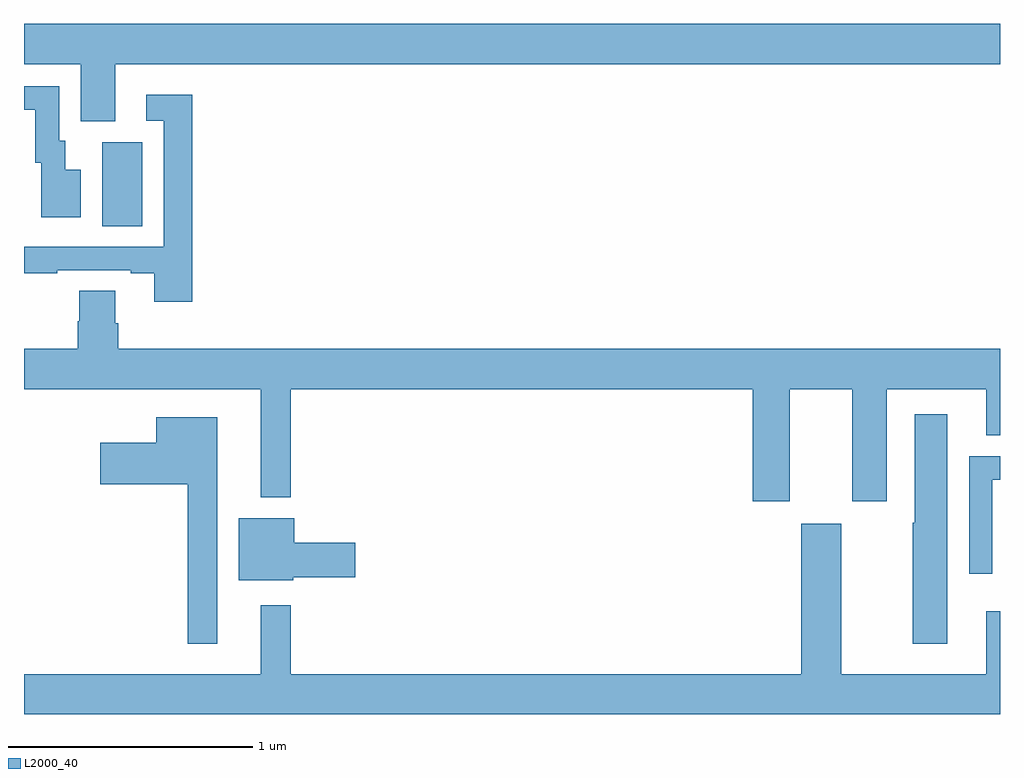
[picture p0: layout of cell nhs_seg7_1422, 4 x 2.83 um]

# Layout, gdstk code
import gdstk
lib = gdstk.Library(unit=1e-6, precision=1e-09)
def R(c, l, rs):  # rectangles x0, y0, x1, y1
    for r in rs: c.add(gdstk.rectangle(r[:2], r[2:], *l))
def P(c, l, *ps):  # polygons
    for p in ps: c.add(gdstk.Polygon(p, *l))
L2000_40 = (2000, 40)

nhs_seg7_1422 = lib.new_cell('nhs_seg7_1422')
R(nhs_seg7_1422, L2000_40, [(207.32,1066.552,207.484,1066.896)])
P(nhs_seg7_1422, L2000_40, [(207.373,1067.216),(211,1067.216),(211,1067.38),(207,1067.38),(207,1067.216),(207.233,1067.216),(207.233,1066.981),(207.373,1066.981)],
  [(207.232,1066.783),(207.169,1066.783),(207.169,1066.902),(207.144,1066.902),(207.144,1067.124),(207,1067.124),(207,1067.028),(207.047,1067.028),(207.047,1066.812),(207.071,1066.812),(207.071,1066.587),(207.232,1066.587)],
  [(207.689,1067.089),(207.501,1067.089),(207.501,1066.983),(207.573,1066.983),(207.573,1066.467),(207,1066.467),(207,1066.359),(207.137,1066.359),(207.137,1066.371),(207.437,1066.371),(207.437,1066.359),(207.533,1066.359),(207.533,1066.242),(207.689,1066.242)],
  [(210.139,1065.884),(210.395,1065.884),(210.395,1065.423),(210.535,1065.423),(210.535,1065.884),(210.944,1065.884),(210.944,1065.694),(211,1065.694),(211,1066.048),(207.386,1066.048),(207.386,1066.154),(207.373,1066.154),(207.373,1066.286),(207.226,1066.286),(207.226,1066.161),(207.221,1066.161),(207.221,1066.048),(207,1066.048),(207,1065.884),(207.971,1065.884),(207.971,1065.44),(208.093,1065.44),(208.093,1065.884),(209.987,1065.884),(209.987,1065.423),(210.139,1065.423)],
  [(210.784,1065.781),(210.65,1065.781),(210.65,1065.335),(210.643,1065.335),(210.643,1064.841),(210.784,1064.841)],
  [(207.793,1065.769),(207.542,1065.769),(207.542,1065.664),(207.312,1065.664),(207.312,1065.494),(207.672,1065.494),(207.672,1064.841),(207.793,1064.841)],
  [(210.969,1065.513),(211,1065.513),(211,1065.609),(210.873,1065.609),(210.873,1065.126),(210.969,1065.126)],
  [(208.104,1065.112),(208.357,1065.112),(208.357,1065.254),(208.108,1065.254),(208.108,1065.355),(207.881,1065.355),(207.881,1065.101),(208.104,1065.101)],
  [(211,1064.974),(210.944,1064.974),(210.944,1064.716),(210.349,1064.716),(210.349,1065.331),(210.185,1065.331),(210.185,1064.716),(208.093,1064.716),(208.093,1064.998),(207.971,1064.998),(207.971,1064.716),(207,1064.716),(207,1064.552),(211,1064.552)])

lib.write_gds('nhs_seg7_1422.gds')
